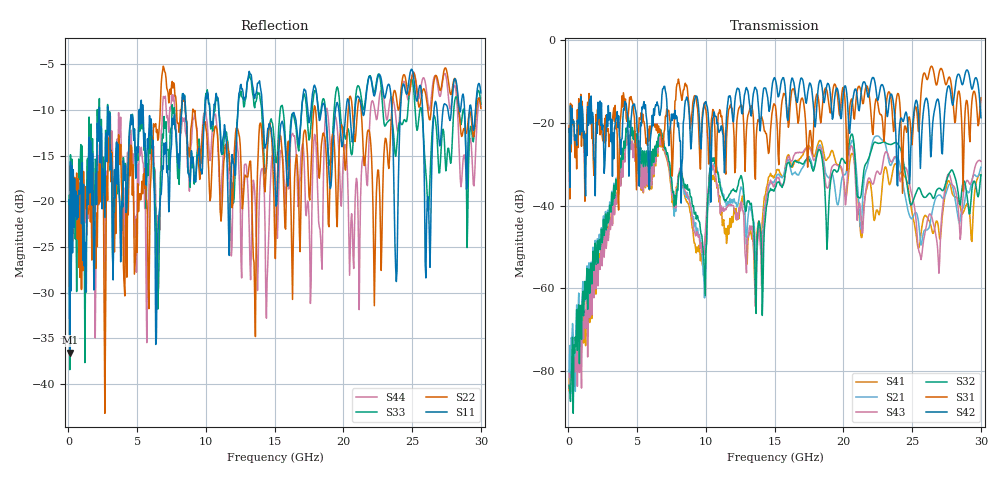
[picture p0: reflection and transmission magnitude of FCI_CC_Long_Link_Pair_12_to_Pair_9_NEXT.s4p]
! FCI USA LLC
! FCI_CC_Long_Link_Pair_12_to_Pair_9_NEXT.s4p
! PART DESCRIPTION: FCI Connector Concept 0.70 m Simulated Channel Model
! FREQUENCY RANGE: 50 MHz to 30 GHz in 50 MHz frequency steps
! PORT DEFINITIONS:
! Port  1  ----->  TX  Pin J5(Side B) -- Pin A5(Side B)  RX  <-----  Port  2
! Port  3  ----->  TX  Pin K5(Side B) -- Pin B5(Side B)  RX  <-----  Port  4
! Information
! FCI endeavors to use its reasonable efforts to place accurate and
! up-to-date information in this Touchstone file.  However, this file is
! provided on an as is basis.  FCI GIVES NO WARRANTY, EXPRESS OR
! IMPLIED, WITH RESPECT TO ANY INFORMATION PROVIDED IN THIS FILE,
! INCLUDING BUT NOT LIMITED TO THE IMPLIED WARRANTIES OF
! MERCHANTABILITY, FITNESS FOR A PARTICULAR PURPOSE OR NON-INFRINGEMENT.
! FCI SHALL NOT BE LIABLE FOR ANY DIRECT, SPECIAL, INDIRECT,
! CONSEQUENTIAL, PUNITIVE OR OTHER DAMAGES BASED ON USE OF THIS FILE.
#	Hz	S	RI	R	50
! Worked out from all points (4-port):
!   600 points, 50 MHz to 30 GHz, reference 50 ohm
!   strongest paths, dB at 50 MHz, 7.55 GHz, 15.05 GHz, 22.55 GHz, 30 GHz:
!     S42: -21.4, -19.4, -9.5, -14.1, -18.7
!     S31: -20.7, -32.9, -15.8, -16.2, -14.0
!     S32: -83.4, -35.7, -35.7, -25.0, -32.5
!     S43: -80.6, -37.5, -34.7, -32.0, -29.3
!     S21: -80.0, -37.3, -33.6, -23.2, -30.7
!     S41: -84.7, -39.3, -32.5, -41.9, -32.6
!   lowest |S11| = -36.6 dB at 100 MHz (marker M1), VSWR 1.03, Z = 51.1 - j1.04 ohm
!   |S11| at or under -10 dB: 2.857 GHz to 5.149 GHz (2.292 GHz wide, 57.3 % of centre); 5.42 GHz to 8.233 GHz (2.813 GHz wide, 41.2 % of centre); 14.11 GHz to 16.96 GHz (2.847 GHz wide, 18.3 % of centre)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
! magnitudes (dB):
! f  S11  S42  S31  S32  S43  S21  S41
! 50 MHz  -19.8  -21.4  -20.7  -83.4  -80.6  -80.0  -84.7
! 100 MHz  -36.6  -35.7  -38.4  -84.6  -81.1  -73.8  -78.4
! 4.35 GHz  -16.5  -24.3  -18.1  -18.4  -22.0  -18.4  -22.0
! 9.8 GHz  -13.7  -17.3  -16.6  -51.1  -49.9  -56.6  -51.1
! 10.6 GHz  -9.4  -17.4  -19.0  -28.4  -31.5  -29.8  -33.1
! 13.6 GHz  -8.3  -11.4  -33.6  -61.6  -64.4  -51.3  -57.8
! 30 GHz  -8.1  -18.7  -14.0  -32.5  -29.3  -30.7  -32.6
